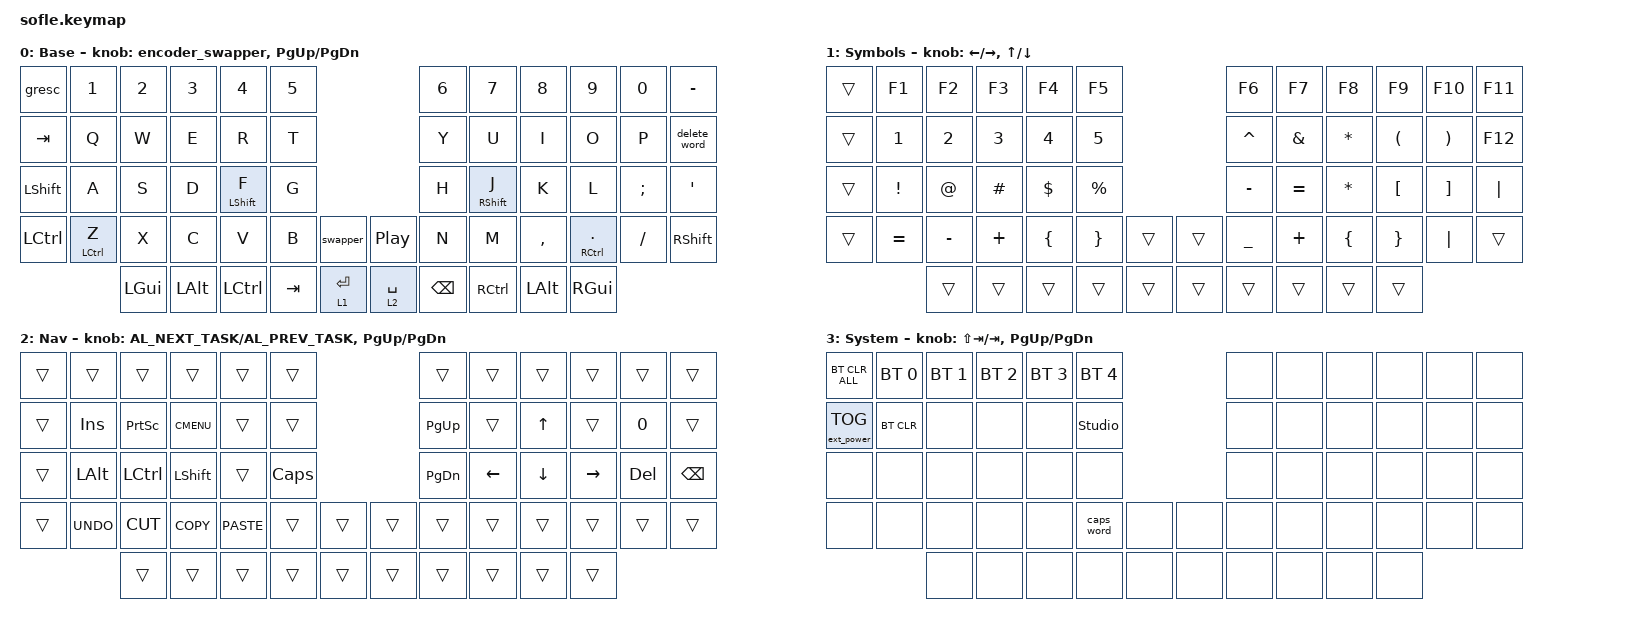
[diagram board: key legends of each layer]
/*
 * Copyright (c) 2020 The ZMK Contributors
 *
 * SPDX-License-Identifier: MIT
 */

#include <behaviors.dtsi>
#include <dt-bindings/zmk/bt.h>
#include <dt-bindings/zmk/ext_power.h>
#include <dt-bindings/zmk/keys.h>

// Encoders

&sensors { triggers-per-rotation = <30>; };

&left_encoder { steps = <30>; };

&right_encoder { steps = <30>; };

#define BASE 0
#define LOWER 1
#define RAISE 2
#define ADJUST 3

/ {
    // Activate ADJUST layer by pressing raise and lower

    conditional_layers {
        compatible = "zmk,conditional-layers";

        adjust_layer {
            if-layers = <1 2>;
            then-layer = <3>;
        };
    };

    combos {
        compatible = "zmk,combos";

        backspace {
            bindings = <&kp BACKSPACE>;
            key-positions = <32 31>;
        };

        delete {
            bindings = <&kp DELETE>;
            key-positions = <27 33>;
        };

        esc {
            bindings = <&kp ESCAPE>;
            key-positions = <25 41>;
        };
    };

    behaviors {
        caps: caps {
            compatible = "zmk,behavior-caps-word";
            label = "CAPS";
            #binding-cells = <0>;
            continue-list = <POUND MINUS BACKSPACE UNDERSCORE>;
        };

        delete_word: delete_word {
            compatible = "zmk,behavior-tap-dance";
            label = "DELETE_WORD";
            #binding-cells = <0>;
            bindings = <&kp BACKSPACE>, <&kp LC(BACKSPACE)>;
        };

        swapper: swapper {
            compatible = "zmk,behavior-smart-toggle";
            #binding-cells = <0>;
            bindings = <&kp LALT>, <&kp TAB>;
            ignored-key-positions = <1>;
        };

        encoder_swapper: encoder_swapper {
            compatible = "zmk,behavior-sensor-rotate";
            #sensor-binding-cells = <0>;
            bindings = <&kp LS(TAB)>, <&swapper>;
        };
    };

    keymap {
        compatible = "zmk,keymap";

        default_layer {
            display-name = "Base";

            // ------------------------------------------------------------------------------------------------------------
            // |   `   |  1  |  2  |  3   |  4   |  5   |                   |  6   |  7    |  8    |  9   |   0   |       |
            // |  ESC  |  Q  |  W  |  E   |  R   |  T   |                   |  Y   |  U    |  I    |  O   |   P   | BKSPC |
            // |  TAB  |  A  |  S  |  D   |  F   |  G   |                   |  H   |  J    |  K    |  L   |   ;   |   '   |
            // | SHIFT |  Z  |  X  |  C   |  V   |  B   |  MUTE  |  |       |  N   |  M    |  ,    |  .   |   /   | SHIFT |
            //               | GUI | ALT  | CTRL | LOWER|  ENTER |  | SPACE | RAISE| CTRL  | ALT   | GUI  |

            bindings = <
&gresc            &kp N1       &kp N2    &kp N3    &kp N4            &kp N5                                    &kp N6         &kp N7             &kp N8     &kp N9         &kp N0    &kp MINUS
&kp TAB           &kp Q        &kp W     &kp E     &kp R             &kp T                                     &kp Y          &kp U              &kp I      &kp O          &kp P     &delete_word
&kp LEFT_SHIFT    &kp A        &kp S     &kp D     &mt LEFT_SHIFT F  &kp G                                     &kp H          &mt RIGHT_SHIFT J  &kp K      &kp L          &kp SEMI  &kp SQT
&kp LEFT_CONTROL  &mt LCTRL Z  &kp X     &kp C     &kp V             &kp B    &swapper       &kp C_PLAY_PAUSE  &kp N          &kp M              &kp COMMA  &mt RCTRL DOT  &kp FSLH  &kp RSHFT
                               &kp LGUI  &kp LALT  &kp LCTRL         &kp TAB  &lt 1 ENTER    &lt 2 SPACE       &kp BACKSPACE  &kp RCTRL          &kp LALT   &kp RGUI
            >;

            sensor-bindings =
                <&encoder_swapper>,
                <&inc_dec_kp PG_UP PG_DN>;
        };

        lower_layer {
            display-name = "Symbols";

            // TODO: Some binds are waiting for shifted keycode support.
            // ------------------------------------------------------------------------------------------------------------
            // |       |  F1 |  F2 |  F3  |  F4  |  F5  |                   |  F6  |  F7   |  F8   |  F9  |  F10  |  F11  |
            // |   `   |  1  |  2  |  3   |  4   |  5   |                   |  6   |  7    |  8    |  9   |   0   |  F12  |
            // |       |  !  |  @  |  #   |  $   |  %   |                   |  ^   |  &    |  *    |  (   |   )   |   |   |
            // |       |  =  |  -  |  +   |  {   |  }   |        |  |       |  [   |  ]    |  ;    |  :   |   \   |       |
            //               |     |      |      |      |        |  |       |      |       |       |      |

            bindings = <
&trans  &kp F1     &kp F2     &kp F3    &kp F4    &kp F5                       &kp F6          &kp F7         &kp F8          &kp F9                &kp F10                &kp F11
&trans  &kp N1     &kp N2     &kp N3    &kp N4    &kp N5                       &kp CARET       &kp AMPERSAND  &kp ASTRK       &kp LEFT_PARENTHESIS  &kp RIGHT_PARENTHESIS  &kp F12
&trans  &kp EXCL   &kp AT     &kp HASH  &kp DLLR  &kp PRCNT                    &kp MINUS       &kp EQUAL      &kp ASTRK       &kp LEFT_BRACKET      &kp RIGHT_BRACKET      &kp PIPE
&trans  &kp EQUAL  &kp MINUS  &kp PLUS  &kp LBRC  &kp RBRC   &trans    &trans  &kp UNDERSCORE  &kp PLUS       &kp LEFT_BRACE  &kp RIGHT_BRACE       &kp PIPE               &trans
                   &trans     &trans    &trans    &trans     &trans    &trans  &trans          &trans         &trans          &trans
            >;

            sensor-bindings =
                <&inc_dec_kp LEFT_ARROW RIGHT_ARROW>,
                <&inc_dec_kp UP_ARROW DOWN_ARROW>;
        };

        raise_layer {
            display-name = "Nav";

            // ------------------------------------------------------------------------------------------------------------
            // | BTCLR | BT1  | BT2  |  BT3  |  BT4  |  BT5 |                |      |      |       |      |       |       |
            // |       | INS  | PSCR | GUI   |       |      |                | PGUP |      |   ^   |      |       |       |
            // |       | ALT  | CTRL | SHIFT |       | CAPS |                | PGDN |   <- |   v   |  ->  |  DEL  | BKSPC |
            // |       | UNDO | CUT  | COPY  | PASTE |      |      |  |      |      |      |       |      |       |       |
            //                |      |       |       |      |      |  |      |      |      |       |      |

            bindings = <
&trans  &trans      &trans     &trans       &trans       &trans                      &trans     &trans    &trans    &trans     &trans   &trans
&trans  &kp INS     &kp PSCRN  &kp K_CMENU  &trans       &trans                      &kp PG_UP  &trans    &kp UP    &trans     &kp N0   &trans
&trans  &kp LALT    &kp LCTRL  &kp LSHFT    &trans       &kp CLCK                    &kp PG_DN  &kp LEFT  &kp DOWN  &kp RIGHT  &kp DEL  &kp BSPC
&trans  &kp K_UNDO  &kp K_CUT  &kp K_COPY   &kp K_PASTE  &trans    &trans    &trans  &trans     &trans    &trans    &trans     &trans   &trans
                    &trans     &trans       &trans       &trans    &trans    &trans  &trans     &trans    &trans    &trans
            >;

            sensor-bindings =
                <&inc_dec_kp C_AL_NEXT_TASK C_AL_PREV_TASK>,
                <&inc_dec_kp PG_UP PG_DN>;
        };

        adjust_layer {
            // ----------------------------------------------------------------------------------------------------------------------------
            // | BTCLR  |  BT1    |  BT2    |   BT3   |   BT4   |   BT5   |                  |      |      |       |      |       |       |
            // | EXTPWR | RGB_HUD | RGB_HUI | RGB_SAD | RGB_SAI | RGB_EFF |                  |      |      |       |      |       |       |
            // |        | RGB_BRD | RGB_BRI |         |         |         |                  |      |      |       |      |       |       |
            // |        |         |         |         |         |         | RGB_TOG | |      |      |      |       |      |       |       |
            //                    |         |         |         |         |         | |      |      |      |       |      |

            display-name = "System";
            bindings = <
&bt BT_CLR_ALL     &bt BT_SEL 0  &bt BT_SEL 1  &bt BT_SEL 2  &bt BT_SEL 3  &bt BT_SEL 4                    &none  &none  &none  &none  &none  &none
&ext_power EP_TOG  &bt BT_CLR    &none         &none         &none         &studio_unlock                  &none  &none  &none  &none  &none  &none
&none              &none         &none         &none         &none         &none                           &none  &none  &none  &none  &none  &none
&none              &none         &none         &none         &none         &caps_word      &none    &none  &none  &none  &none  &none  &none  &none
                                 &none         &none         &none         &none           &none    &none  &none  &none  &none  &none
            >;

            sensor-bindings =
                <&inc_dec_kp LS(TAB) TAB>,
                <&inc_dec_kp PG_UP PG_DN>;
        };
    };
};
